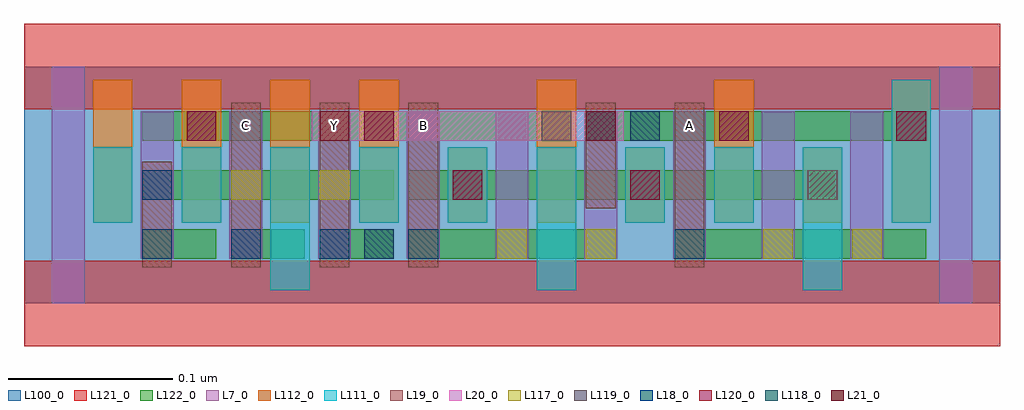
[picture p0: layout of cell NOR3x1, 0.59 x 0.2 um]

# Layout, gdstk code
import gdstk
lib = gdstk.Library(unit=1e-6, precision=2.5e-10)
def R(c, l, rs):  # rectangles x0, y0, x1, y1
    for r in rs: c.add(gdstk.rectangle(r[:2], r[2:], *l))
def A(c, l, x, y, w, h, nx, ny, dx, dy):  # array of equal rectangles
    R(c, l, [(x+i*dx, y+j*dy, x+i*dx+w, y+j*dy+h) for i in range(nx) for j in range(ny)])
L7_0 = (7, 0)
L18_0 = (18, 0)
L19_0 = (19, 0)
L20_0 = (20, 0)
L21_0 = (21, 0)
L100_0 = (100, 0)
L111_0 = (111, 0)
L112_0 = (112, 0)
L117_0 = (117, 0)
L118_0 = (118, 0)
L119_0 = (119, 0)
L120_0 = (120, 0)
L121_0 = (121, 0)
L122_0 = (122, 0)

nor3x1 = lib.new_cell('NOR3x1')
A(nor3x1, L7_0, 0.071, 0.027, 0.02, 0.09, 9, 1, 0.054, 0)
R(nor3x1, L7_0, [(0.017,0,0.037,0.144), (0.557,0,0.577,0.144)])
A(nor3x1, L18_0, 0.072, 0.027, 0.018, 0.018, 4, 1, 0.054, 0)
R(nor3x1, L18_0, [(0.396,0.027,0.414,0.045), (0.072,0.063,0.09,0.081), (0.342,0.099,0.36,0.117)])
A(nor3x1, L19_0, 0.126, 0.022, 0.018, 0.1, 3, 1, 0.054, 0)
R(nor3x1, L19_0, [(0.072,0.022,0.09,0.086), (0.396,0.022,0.414,0.122), (0.342,0.058,0.36,0.122)])
R(nor3x1, L20_0, [(0.175,0.099,0.365,0.117)])
R(nor3x1, L21_0, [(0.18,0.099,0.198,0.117), (0.342,0.099,0.36,0.117)])
R(nor3x1, L100_0, [(0,0,0.594,0.144)])
A(nor3x1, L111_0, 0.15, 0.008, 0.024, 0.087, 3, 1, 0.162, 0)
R(nor3x1, L111_0, [(0.042,0.049,0.066,0.095), (0.096,0.049,0.12,0.095), (0.204,0.049,0.228,0.095), (0.258,0.049,0.282,0.095), (0.366,0.049,0.39,0.095), (0.42,0.049,0.444,0.095), (0.528,0.049,0.552,0.136)])
A(nor3x1, L112_0, 0.042, 0.049, 0.024, 0.087, 4, 1, 0.054, 0)
A(nor3x1, L112_0, 0.258, 0.049, 0.024, 0.046, 3, 1, 0.108, 0)
A(nor3x1, L112_0, 0.312, 0.049, 0.024, 0.087, 3, 1, 0.108, 0)
A(nor3x1, L117_0, 0.234, 0.027, 0.018, 0.018, 6, 1, 0.054, 0)
R(nor3x1, L117_0, [(0.072,0.027,0.09,0.045), (0.126,0.063,0.144,0.081), (0.18,0.063,0.198,0.081)])
R(nor3x1, L118_0, [(0.207,0.027,0.225,0.045), (0.369,0.099,0.387,0.117)])
A(nor3x1, L119_0, 0.261, 0.063, 0.018, 0.018, 3, 1, 0.108, 0)
A(nor3x1, L119_0, 0.099, 0.099, 0.018, 0.018, 5, 1, 0.108, 0)
R(nor3x1, L120_0, [(0.261,0.063,0.279,0.081), (0.369,0.063,0.387,0.081), (0.099,0.099,0.117,0.117), (0.207,0.099,0.225,0.117), (0.423,0.099,0.441,0.117), (0.531,0.099,0.549,0.117)])
R(nor3x1, L121_0, [(0,-0.026,0.594,0.026), (0,0.118,0.594,0.17)])
A(nor3x1, L122_0, 0.072, 0.027, 0.045, 0.018, 3, 1, 0.054, 0)
R(nor3x1, L122_0, [(0.234,0.027,0.36,0.045), (0.396,0.027,0.549,0.045), (0.072,0.063,0.225,0.081), (0.234,0.063,0.495,0.081), (0.072,0.099,0.333,0.117), (0.342,0.099,0.549,0.117)])
nor3x1.add(gdstk.Label('Y', (0.189,0.108), layer=19, texttype=251))
nor3x1.add(gdstk.Label('C', (0.135,0.108), layer=19, texttype=251))
nor3x1.add(gdstk.Label('B', (0.243,0.108), layer=19, texttype=251))
nor3x1.add(gdstk.Label('A', (0.405,0.108), layer=19, texttype=251))

lib.write_gds('NOR3x1.gds')
